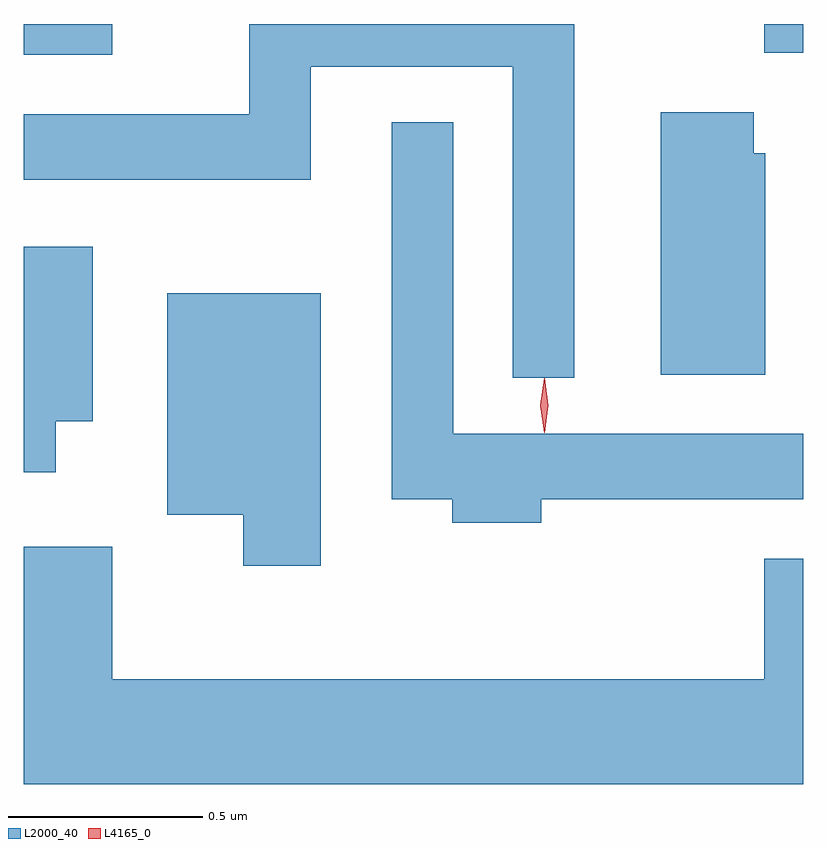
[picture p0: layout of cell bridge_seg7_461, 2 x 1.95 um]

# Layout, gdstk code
import gdstk
lib = gdstk.Library(unit=1e-6, precision=1e-09)
def R(c, l, rs):  # rectangles x0, y0, x1, y1
    for r in rs: c.add(gdstk.rectangle(r[:2], r[2:], *l))
def P(c, l, *ps):  # polygons
    for p in ps: c.add(gdstk.Polygon(p, *l))
L2000_40 = (2000, 40)
L4165_0 = (4165, 0)

bridge_seg7_461 = lib.new_cell('bridge_seg7_461')
R(bridge_seg7_461, L2000_40, [(1197.452,1722.846,1197.679,1722.925), (1199.351,1722.851,1199.452,1722.925)])
P(bridge_seg7_461, L2000_40, [(1198.864,1722.925),(1198.031,1722.925),(1198.031,1722.694),(1197.452,1722.694),(1197.452,1722.526),(1198.189,1722.526),(1198.189,1722.816),(1198.706,1722.816),(1198.706,1722.018),(1198.864,1722.018)],
  [(1199.354,1722.594),(1199.324,1722.594),(1199.324,1722.699),(1199.086,1722.699),(1199.086,1722.026),(1199.354,1722.026)],
  [(1198.779,1721.706),(1199.452,1721.706),(1199.452,1721.874),(1198.554,1721.874),(1198.554,1722.673),(1198.396,1722.673),(1198.396,1721.706),(1198.551,1721.706),(1198.551,1721.646),(1198.779,1721.646)],
  [(1197.534,1721.906),(1197.629,1721.906),(1197.629,1722.354),(1197.452,1722.354),(1197.452,1721.776),(1197.534,1721.776)],
  [(1198.214,1722.234),(1197.821,1722.234),(1197.821,1721.666),(1198.016,1721.666),(1198.016,1721.536),(1198.214,1721.536)],
  [(1199.452,1721.554),(1199.351,1721.554),(1199.351,1721.244),(1197.679,1721.244),(1197.679,1721.584),(1197.452,1721.584),(1197.452,1720.976),(1199.452,1720.976)])
P(bridge_seg7_461, L4165_0, [(1198.787,1721.877),(1198.777,1721.947),(1198.787,1722.016),(1198.788,1722.016),(1198.788,1722.016),(1198.798,1721.947),(1198.788,1721.877),(1198.788,1721.877)],
  [(1198.788,1721.879),(1198.787,1721.88),(1198.777,1721.946),(1198.787,1722.013),(1198.788,1722.013),(1198.788,1722.013),(1198.798,1721.946),(1198.788,1721.88)])

lib.write_gds('bridge_seg7_461.gds')
